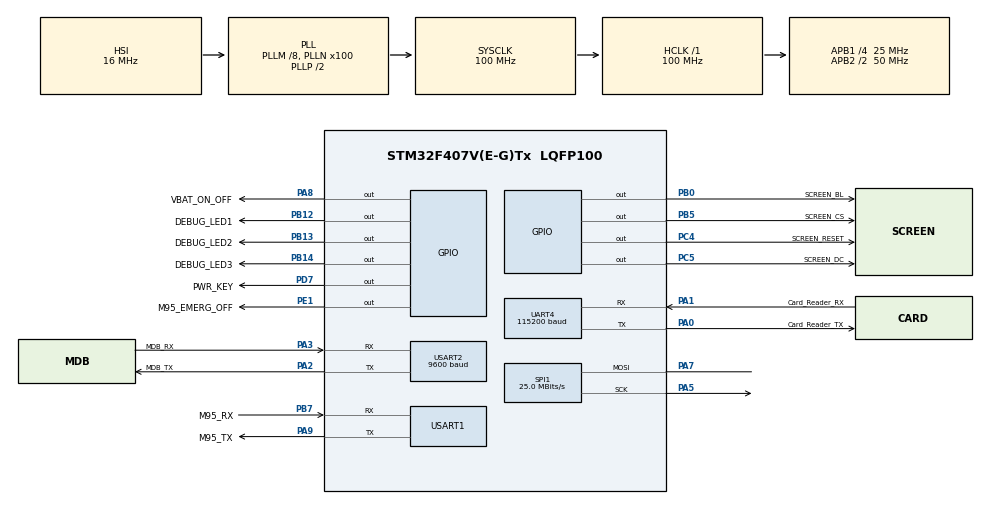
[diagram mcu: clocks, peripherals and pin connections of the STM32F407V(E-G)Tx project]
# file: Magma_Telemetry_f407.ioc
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Mcu.Family=STM32F4
Mcu.Name=STM32F407V(E-G)Tx
Mcu.Package=LQFP100
NVIC.PriorityGroup=NVIC_PRIORITYGROUP_4
NVIC.UART4_IRQn=true\:0\:0\:false\:false\:true\:true\:true
NVIC.USART1_IRQn=true\:0\:0\:false\:false\:true\:true\:true
NVIC.USART2_IRQn=true\:0\:0\:false\:false\:true\:true\:true
PA0-WKUP.GPIO_Label=Card_Reader_TX
PA0-WKUP.Mode=Asynchronous
PA0-WKUP.Signal=UART4_TX
PA1.GPIO_Label=Card_Reader_RX
PA1.Mode=Asynchronous
PA1.Signal=UART4_RX
PA13.Mode=Serial_Wire
PA13.Signal=SYS_JTMS-SWDIO
PA14.Mode=Serial_Wire
PA14.Signal=SYS_JTCK-SWCLK
PA2.GPIO_Label=MDB_TX
PA2.Mode=Asynchronous
PA2.Signal=USART2_TX
PA3.GPIO_Label=MDB_RX
PA3.Mode=Asynchronous
PA3.Signal=USART2_RX
PA5.Mode=Simplex_Bidirectional_Master
PA5.Signal=SPI1_SCK
PA7.Mode=Simplex_Bidirectional_Master
PA7.Signal=SPI1_MOSI
PA8.GPIO_Label=VBAT_ON_OFF
PA8.Signal=GPIO_Output
PA9.GPIO_Label=M95_TX
PA9.Mode=Asynchronous
PA9.Signal=USART1_TX
PB0.GPIO_Label=SCREEN_BL
PB0.Signal=GPIO_Output
PB12.GPIO_Label=DEBUG_LED1
PB12.Signal=GPIO_Output
PB13.GPIO_Label=DEBUG_LED2
PB13.Signal=GPIO_Output
PB14.GPIO_Label=DEBUG_LED3
PB14.Signal=GPIO_Output
PB5.GPIO_Label=SCREEN_CS
PB5.Signal=GPIO_Output
PB7.GPIO_Label=M95_RX
PB7.Mode=Asynchronous
PB7.Signal=USART1_RX
PC14-OSC32_IN.Mode=LSE-External-Oscillator
PC14-OSC32_IN.Signal=RCC_OSC32_IN
PC15-OSC32_OUT.Mode=LSE-External-Oscillator
PC15-OSC32_OUT.Signal=RCC_OSC32_OUT
PC4.GPIO_Label=SCREEN_RESET
PC4.Signal=GPIO_Output
PC5.GPIO_Label=SCREEN_DC
PC5.Signal=GPIO_Output
PD7.GPIO_Label=PWR_KEY
PD7.Signal=GPIO_Output
PE1.GPIO_Label=M95_EMERG_OFF
PE1.Signal=GPIO_Output
PH0-OSC_IN.Mode=HSE-External-Oscillator
PH0-OSC_IN.Signal=RCC_OSC_IN
PH1-OSC_OUT.Mode=HSE-External-Oscillator
PH1-OSC_OUT.Signal=RCC_OSC_OUT
ProjectManager.HeapSize=0x200
ProjectManager.StackSize=0x400
ProjectManager.TargetToolchain=STM32CubeIDE
RCC.48MHZClocksFreq_Value=50000000
RCC.AHBFreq_Value=100000000
RCC.APB1CLKDivider=RCC_HCLK_DIV4
RCC.APB1Freq_Value=25000000
RCC.APB1TimFreq_Value=50000000
RCC.APB2CLKDivider=RCC_HCLK_DIV2
RCC.APB2Freq_Value=50000000
RCC.APB2TimFreq_Value=100000000
RCC.CortexFreq_Value=100000000
RCC.HCLKFreq_Value=100000000
RCC.HSE_VALUE=25000000
RCC.HSI_VALUE=16000000
RCC.PLLM=8
RCC.PLLN=100
RCC.SYSCLKFreq_VALUE=100000000
RCC.SYSCLKSource=RCC_SYSCLKSOURCE_PLLCLK
RCC.VCOOutputFreq_Value=200000000
SPI1.CalculateBaudRate=25.0 MBits/s
SPI1.Direction=SPI_DIRECTION_1LINE
SPI1.Mode=SPI_MODE_MASTER
SPI1.VirtualType=VM_MASTER
UART4.BaudRate=115200
UART4.VirtualMode=Asynchronous
USART1.VirtualMode=VM_ASYNC
USART2.BaudRate=9600
USART2.VirtualMode=VM_ASYNC
board=custom

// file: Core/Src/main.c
/* USER CODE BEGIN Header */
/**
  ******************************************************************************
  * @file           : main.c
  * @brief          : Main program body
  ******************************************************************************
  * @attention
  *
  * <h2><center>&copy; Copyright (c) 2021 STMicroelectronics.
  * All rights reserved.</center></h2>
  *
  * This software component is licensed by ST under BSD 3-Clause license,
  * the "License"; You may not use this file except in compliance with the
  * License. You may obtain a copy of the License at:
  *                        opensource.org/licenses/BSD-3-Clause
  *
  ******************************************************************************
  */
/* USER CODE END Header */
#include "main.h"

/* USER CODE BEGIN Includes */
#include "Magma_Endpoint.h"
#include "Magma_GL.h"
#include "Magma_M95.h"
#include "Magma_Protocol_Stack.h"
#include "Magma_Typecast.h"
#include "ST7735.h"
#include "Fonts.h"
#include "Images.h"
#include "Magma_Screen.h"
#include "Proxy_Mifare.h"
/* USER CODE END Includes */

SPI_HandleTypeDef hspi1;

UART_HandleTypeDef huart4;
UART_HandleTypeDef huart1;
UART_HandleTypeDef huart2;

/* USER CODE BEGIN PV */
uint8_t rfid_begin_session_test_flag;
uint8_t x, y;
/* USER CODE END PV */

void SystemClock_Config(void);
static void MX_GPIO_Init(void);
static void MX_SPI1_Init(void);
static void MX_USART1_UART_Init(void);
static void MX_USART2_UART_Init(void);
static void MX_UART4_Init(void);

int main(void)
{

  /* MCU Configuration--------------------------------------------------------*/

  /* Reset of all peripherals, Initializes the Flash interface and the Systick. */
  HAL_Init();

  /* Configure the system clock */
  SystemClock_Config();

  /* Initialize all configured peripherals */
  MX_GPIO_Init();
  MX_SPI1_Init();
  MX_USART1_UART_Init();
  MX_USART2_UART_Init();
  MX_UART4_Init();
  /* USER CODE BEGIN 2 */
  HAL_UART_Receive_IT(&M95_UART, &m95_com.received_byte_u8, 1);
  page = Intro_Page;
  Screen_Opening();
  Screen_Idle_Page(1, 0);
  //M95_Init();
  HAL_UART_Receive_IT(&MDB_UART, &mdb_com.rx.received_byte_u8, 1);
  HAL_UART_Receive_IT(&NFC_UART, &reader_com.received_byte_u8, 1);
  /* USER CODE END 2 */

  /* Infinite loop */
  while (1)
  {

    /* USER CODE BEGIN 3 */
	  if(sys_timer._100_hz == TRUE)
	  {
		  //POST PROCCESS BEGIN
		  if(end_point.begin_post == TRUE || reader_data.nfc_session_started == TRUE)
		  {
			  Post_Handler((char *)end_point.json_data);		//Endpointten gelen cevaba göre bufferlar doldurulur.
		  }

		  if(end_point.discharge_failure_posts == TRUE)
		  {
			  //Discharge_Stored_Endpoint_Buf();
		  }

		  //Kacirilan Post 4u gecerse reset.
		  /*if((m95_errors.post_timeout_ctr_u32 + m95_errors.get_timeout_ctr_u32) > 4)
		  {
			  m95_errors.get_timeout_ctr_u32 = 0;
			  m95_errors.post_timeout_ctr_u32 = 0;
			  m95_state = M95_COM_CONTROL;
			  ST7735_FillScreen(ST7735_BLACK);
			  page = Intro_Page;
			  M95_Init();
		  }*/

		  /*switch(m95_state)
		  {
		  	  case M95_SIGNAL_QUALITY_CHECK:
		  	  {
		  		  if(page != Idle_Page)
				  {
					  Screen_Idle_Page(1, m95_com.internet_con_ok);
					  screen_data.internet_con_changed = 0;
				  }

		  		  static uint8_t function_called = 0;
		  		  if (function_called == 0)
		  		  {
		  			  memset(m95_com.rx_buf, 0, 1024);
		  			  M95_Get_Signal_Quality(100);
		  			  function_called = 1;
		  			  m95_data._2_sec_timeout = START;
		  			  m95_data._2_sec_ctr_u16 = 0;
		  		  }

		  		  if(m95_com.pack_received == TRUE)
		  		  {
		  			  uint8_t number_start_idx, end_idx;

		  			  function_called = 0;
		  			  number_start_idx = Find_String_Index("+CSQ: ", (char *)m95_com.rx_buf);
		  			  end_idx = Find_String_Index(",", (char *)m95_com.rx_buf);

					  if(number_start_idx != 0)
					  {
						  char signal_quality[2];

						  for(uint8_t i = 0; i < (end_idx - number_start_idx); i++)
						  {
							  signal_quality[i] = m95_com.rx_buf[number_start_idx + i];
						  }

						  end_point_data.signal_quality = atoi(signal_quality);
					  }
		  		  }

		  		  if(m95_data._2_sec_timeout == TIME_UP)
		  		  {

		  		  }
					  //End Point com failure buffer
		  		  break;
		  	}

		  	case M95_SET_URL_CONFIG:
		  	{
		  		static uint8_t function_called = 0;
		  		m95_data._270_ms_ctr_u16 = 0;
		  		m95_data._270_ms_timeout = START;
		  		if(function_called == 0)
		  		{
		  			m95_com.connect_received = FALSE;
		  			M95_Set_URL_Config(100, strlen((char *)end_point.url), 30);
		  			function_called = 1;
		  		}

				if(m95_com.connect_received == TRUE)
				{
					m95_state = M95_SET_URL;
					m95_com.connect_received = FALSE;
					m95_com.end_point_con_ok = TRUE;
					m95_com.cme_error_rxed = FALSE;
					function_called = 0;
				}

				else if(m95_com.error_received == TRUE)
				{
					Find_String_Index("+CME ERROR:", (char *)m95_com.rx_buf);
					m95_com.cme_error_rxed = TRUE;
					m95_com.end_point_con_ok = FALSE;
					m95_state = M95_SIGNAL_QUALITY_CHECK;
				}

		  		else if(m95_data._270_ms_timeout == TIME_UP)
		  		{
		  			//TODO SET URL CONFIG TIMEOUT
		  			m95_state = M95_SIGNAL_QUALITY_CHECK;
		  		}
		  		break;
		  	}

		  	case M95_SET_URL:
		  	{
		  		static uint8_t function_called = 0;

		  		if(function_called == 0)
		  		{
		  			m95_com.ok_received = FALSE;
		  			m95_data._270_ms_ctr_u16 = 0;
		  			m95_data._270_ms_timeout = START;
		  			M95_Set_URL(M95_UART_TIMEOUT, end_point.url);
		  			function_called = 1;
		  		}

				if(m95_com.ok_received == TRUE)
				{
					function_called = 0;
					m95_com.ok_received = FALSE;
					end_point.url_changed = FALSE;

					if(m95_url == CASHLESS_POST_URL)
					{
						m95_state = M95_POST_CONFIG;
						Convert_Data_2_JSON(mdb_data.product_price_u16, mdb_data.product_num_16, (char *)end_point.json_data);
						end_point.begin_post = 1;
					}
				}

				else if(m95_data._270_ms_timeout == TIME_UP)
				{
					//TODO SET URL TIMEOUT
					m95_state = M95_SIGNAL_QUALITY_CHECK;
				}
		  		break;
		  	}
		  	default: break;
		  }*/

		  //RFID kart okutuldugundaki case
			if(reader_data.nfc_card_read_flag == 1 /*&& end_point.begin_post != TRUE*/ && reader_data.nfc_session_started != TRUE)
			{
			  /*uint8_t example_uid[6] = {1, 2, 3, 1, 2, 3};

			  if(m95_url != NFC_POST_URL)
			  {
				  strcpy((char*)end_point.url, MAGMA_NFC_URL);
				  m95_url = NFC_POST_URL;
				  m95_state = M95_SET_URL_CONFIG;
				  end_point.url_changed = TRUE;
			  }

			  if(end_point.url_changed == FALSE)
			  {
				  NFC_Card_Session(example_uid, (char*)end_point.json_data);
				  reader_data.nfc_session_started = TRUE;
				  reader_data.nfc_card_read_flag = FALSE;
				  m95_state = M95_POST_CONFIG;
			  }*/
				if(mdb_com.begin_session_started != TRUE)
				{
					Begin_Session_Handler(0, 200);
					mdb_data._30sec_cancel_ctr_u16 = START;
					mdb_com.begin_session_started = TRUE;
				}
			}

			 sys_timer._100_hz = FALSE;
	  }

	  //MDB Command Handler
	  if(sys_timer._10_hz == TRUE)
	  {
		  static uint16_t mdb_response_ctr_u16 = 0;
		  mdb_response_ctr_u16 ++;

		  if(mdb_com.rx_buffer_ready == TRUE)
		  {
			  switch(mdb_com.rx.command_u8)
			  {
				  case Vend_Poll:
				  {
					  //Poll komutunun cevabında ilk byte olarak otomat durumu alınır.
					  switch((uint8_t)mdb_com.rx.data_buf[0])
					  {
						  case Vend_Approved:
						  {
							  Vend_Approved_Handler();
							  mdb_com.begin_session_started = FALSE;
							  break;
						  }
					  }
					  t_vend_state = mdb_com.rx.data_buf[0];

					  switch((uint8_t)t_vend_state)
					  {
						  case VendState_VendRequested:
						  {
							  Send_MDB(Vend_Request, NULL, 0);
							  break;
						  }

						  default: break;
					  }
					  break;
				  }

				  case Cash_Sale:
				  {
					  Vend_Cash_Sale_Handler();
					  break;
				  }

				  case Vend_Request:
				  {
					  Vend_Request_Handler();
					  break;
				  }
			  }

			  mdb_response_ctr_u16 = 0;
			  mdb_data.error_message_u8 &= ~MDB_Com_Error;

			  mdb_com.rx_buffer_ready = FALSE;
		  }

		  if(mdb_com.begin_session_started == TRUE && mdb_data._30sec_cancel_timeout == TIME_UP)
		  {
			  //TODO: VEND CANCEL
			  Send_MDB(Vend_Denied, NULL, 0);
		  }

		  else if(mdb_response_ctr_u16 >= MDB_MAX_RESPONSE_TIME * 2)
		  {
			  mdb_data.error_message_u8 |= MDB_Com_Error;
			  mdb_response_ctr_u16 = MDB_MAX_RESPONSE_TIME * 2;
		  }

		  sys_timer._10_hz = FALSE;
	  }

	  if(sys_timer._5_hz == TRUE)
	  {
		  Send_MDB(Vend_Poll, NULL, 0);

		  sys_timer._5_hz = FALSE;
	  }

	  //Bu kisim m95 fonksiyonlarinin zamanlamasi icin flag ayarlamalarini icerir.
	  if(sys_timer._1_hz == TRUE)
	  {
		  m95_data._12_sec_ctr_u16++;
		  m95_data._16_sec_ctr_u16++;
		  m95_data._10_sec_ctr_u16++;
		  m95_data._20_sec_ctr_u16++;
		  m95_data._3_sec_ctr_u16++;
		  m95_data._2_sec_ctr_u16++;
		  mdb_data._30sec_ctr_u16++;

		  mdb_data._30sec_cancel_ctr_u16++;

		  if(mdb_data._30sec_cancel_ctr_u16 % 30 == 0)
		  {
			  mdb_data._30sec_cancel_timeout = TIME_UP;
		  }
		  if(m95_state == M95_SIGNAL_QUALITY_CHECK && m95_com.internet_con_ok == TRUE)
		  {
			  //Send_MDB(Cash_Sale, mdb_com.tx.data, Cash_Sale_Data_Size);
		  }

		  if(m95_data._2_sec_ctr_u16 %  2 == 0)
		  {
			  m95_data._2_sec_timeout = TIME_UP;
		  }

		  if(m95_data._3_sec_ctr_u16 %  3 == 0)
		  {
			  m95_data._3_sec_timeout = TIME_UP;
		  }

		  if(m95_data._10_sec_ctr_u16 %  10 == 0)
		  {
			  m95_data._10_sec_timeout = TIME_UP;
		  }

		  if(m95_data._12_sec_ctr_u16 %  12 == 0)
		  {
			  m95_data._12_sec_timeout = TIME_UP;
		  }

		  if(m95_data._16_sec_ctr_u16 % 16 == 0)
		  {
			  m95_data._16_sec_timeout = TIME_UP;
		  }

		  if(m95_data._20_sec_ctr_u16 % 20 == 0)
		  {
			  m95_data._20_sec_timeout = TIME_UP;
		  }

		  if(mdb_data._30sec_ctr_u16 % 30 == 0)
		  {
			  mdb_data._30sec_timeout = TIME_UP;
		  }
		  sys_timer._1_hz = FALSE;
	  }

	  if(sys_timer._0_1_hz == TRUE)
	  {
		  if(m95_com.internet_con_ok == TRUE && end_point.store_failure_idx > 0 && m95_state == M95_SIGNAL_QUALITY_CHECK)
		  {
			  end_point.discharge_failure_posts = 1;
		  }

		  //10 Saniyede bir google'a get istegi atilarak internet baglantisi kontrolu
		  if(m95_state == M95_SIGNAL_QUALITY_CHECK)
		  {
			  //m95_state = M95_GOOGLE_PING;
		  }
		  sys_timer._0_1_hz = FALSE;
	  }

	  if(sys_timer._1000_hz == TRUE)
	  {
		  m95_data._100_ms_ctr_u16++;
		  m95_data._270_ms_ctr_u16++;

		  if(m95_data._100_ms_ctr_u16 % 100 == 0)
		  {
			  m95_data._100_ms_timeout = TIME_UP;
		  }

		  if(m95_data._270_ms_ctr_u16 % 270 == 0)
		  {
			  m95_data._270_ms_timeout = TIME_UP;
		  }
		  sys_timer._1000_hz = FALSE;
	  }
  }
  /* USER CODE END 3 */
}

void SystemClock_Config(void)
{
  RCC_OscInitTypeDef RCC_OscInitStruct = {0};
  RCC_ClkInitTypeDef RCC_ClkInitStruct = {0};

  /** Configure the main internal regulator output voltage
  */
  __HAL_RCC_PWR_CLK_ENABLE();
  __HAL_PWR_VOLTAGESCALING_CONFIG(PWR_REGULATOR_VOLTAGE_SCALE1);
  /** Initializes the RCC Oscillators according to the specified parameters
  * in the RCC_OscInitTypeDef structure.
  */
  RCC_OscInitStruct.OscillatorType = RCC_OSCILLATORTYPE_HSI;
  RCC_OscInitStruct.HSIState = RCC_HSI_ON;
  RCC_OscInitStruct.HSICalibrationValue = RCC_HSICALIBRATION_DEFAULT;
  RCC_OscInitStruct.PLL.PLLState = RCC_PLL_ON;
  RCC_OscInitStruct.PLL.PLLSource = RCC_PLLSOURCE_HSI;
  RCC_OscInitStruct.PLL.PLLM = 8;
  RCC_OscInitStruct.PLL.PLLN = 100;
  RCC_OscInitStruct.PLL.PLLP = RCC_PLLP_DIV2;
  RCC_OscInitStruct.PLL.PLLQ = 4;
  if (HAL_RCC_OscConfig(&RCC_OscInitStruct) != HAL_OK)
  {
    Error_Handler();
  }
  /** Initializes the CPU, AHB and APB buses clocks
  */
  RCC_ClkInitStruct.ClockType = RCC_CLOCKTYPE_HCLK|RCC_CLOCKTYPE_SYSCLK
                              |RCC_CLOCKTYPE_PCLK1|RCC_CLOCKTYPE_PCLK2;
  RCC_ClkInitStruct.SYSCLKSource = RCC_SYSCLKSOURCE_PLLCLK;
  RCC_ClkInitStruct.AHBCLKDivider = RCC_SYSCLK_DIV1;
  RCC_ClkInitStruct.APB1CLKDivider = RCC_HCLK_DIV4;
  RCC_ClkInitStruct.APB2CLKDivider = RCC_HCLK_DIV2;

  if (HAL_RCC_ClockConfig(&RCC_ClkInitStruct, FLASH_LATENCY_3) != HAL_OK)
  {
    Error_Handler();
  }
}

static void MX_SPI1_Init(void)
{

  /* SPI1 parameter configuration*/
  hspi1.Instance = SPI1;
  hspi1.Init.Mode = SPI_MODE_MASTER;
  hspi1.Init.Direction = SPI_DIRECTION_1LINE;
  hspi1.Init.DataSize = SPI_DATASIZE_8BIT;
  hspi1.Init.CLKPolarity = SPI_POLARITY_LOW;
  hspi1.Init.CLKPhase = SPI_PHASE_1EDGE;
  hspi1.Init.NSS = SPI_NSS_SOFT;
  hspi1.Init.BaudRatePrescaler = SPI_BAUDRATEPRESCALER_2;
  hspi1.Init.FirstBit = SPI_FIRSTBIT_MSB;
  hspi1.Init.TIMode = SPI_TIMODE_DISABLE;
  hspi1.Init.CRCCalculation = SPI_CRCCALCULATION_DISABLE;
  hspi1.Init.CRCPolynomial = 10;
  if (HAL_SPI_Init(&hspi1) != HAL_OK)
  {
    Error_Handler();
  }

}

static void MX_UART4_Init(void)
{

  huart4.Instance = UART4;
  huart4.Init.BaudRate = 115200;
  huart4.Init.WordLength = UART_WORDLENGTH_8B;
  huart4.Init.StopBits = UART_STOPBITS_1;
  huart4.Init.Parity = UART_PARITY_NONE;
  huart4.Init.Mode = UART_MODE_TX_RX;
  huart4.Init.HwFlowCtl = UART_HWCONTROL_NONE;
  huart4.Init.OverSampling = UART_OVERSAMPLING_16;
  if (HAL_UART_Init(&huart4) != HAL_OK)
  {
    Error_Handler();
  }

}

static void MX_USART1_UART_Init(void)
{

  huart1.Instance = USART1;
  huart1.Init.BaudRate = 115200;
  huart1.Init.WordLength = UART_WORDLENGTH_8B;
  huart1.Init.StopBits = UART_STOPBITS_1;
  huart1.Init.Parity = UART_PARITY_NONE;
  huart1.Init.Mode = UART_MODE_TX_RX;
  huart1.Init.HwFlowCtl = UART_HWCONTROL_NONE;
  huart1.Init.OverSampling = UART_OVERSAMPLING_16;
  if (HAL_UART_Init(&huart1) != HAL_OK)
  {
    Error_Handler();
  }

}

static void MX_USART2_UART_Init(void)
{

  huart2.Instance = USART2;
  huart2.Init.BaudRate = 9600;
  huart2.Init.WordLength = UART_WORDLENGTH_8B;
  huart2.Init.StopBits = UART_STOPBITS_1;
  huart2.Init.Parity = UART_PARITY_NONE;
  huart2.Init.Mode = UART_MODE_TX_RX;
  huart2.Init.HwFlowCtl = UART_HWCONTROL_NONE;
  huart2.Init.OverSampling = UART_OVERSAMPLING_16;
  if (HAL_UART_Init(&huart2) != HAL_OK)
  {
    Error_Handler();
  }

}

static void MX_GPIO_Init(void)
{
  GPIO_InitTypeDef GPIO_InitStruct = {0};

  /* GPIO Ports Clock Enable */
  __HAL_RCC_GPIOC_CLK_ENABLE();
  __HAL_RCC_GPIOH_CLK_ENABLE();
  __HAL_RCC_GPIOA_CLK_ENABLE();
  __HAL_RCC_GPIOB_CLK_ENABLE();
  __HAL_RCC_GPIOD_CLK_ENABLE();
  __HAL_RCC_GPIOE_CLK_ENABLE();

  /*Configure GPIO pin Output Level */
  HAL_GPIO_WritePin(GPIOC, SCREEN_RESET_Pin|SCREEN_DC_Pin, GPIO_PIN_RESET);

  /*Configure GPIO pin Output Level */
  HAL_GPIO_WritePin(GPIOB, SCREEN_BL_Pin|DEBUG_LED1_Pin|DEBUG_LED2_Pin|DEBUG_LED3_Pin
                          |SCREEN_CS_Pin, GPIO_PIN_RESET);

  /*Configure GPIO pin Output Level */
  HAL_GPIO_WritePin(VBAT_ON_OFF_GPIO_Port, VBAT_ON_OFF_Pin, GPIO_PIN_RESET);

  /*Configure GPIO pin Output Level */
  HAL_GPIO_WritePin(PWR_KEY_GPIO_Port, PWR_KEY_Pin, GPIO_PIN_RESET);

  /*Configure GPIO pin Output Level */
  HAL_GPIO_WritePin(M95_EMERG_OFF_GPIO_Port, M95_EMERG_OFF_Pin, GPIO_PIN_RESET);

  /*Configure GPIO pins : SCREEN_RESET_Pin SCREEN_DC_Pin */
  GPIO_InitStruct.Pin = SCREEN_RESET_Pin|SCREEN_DC_Pin;
  GPIO_InitStruct.Mode = GPIO_MODE_OUTPUT_PP;
  GPIO_InitStruct.Pull = GPIO_NOPULL;
  GPIO_InitStruct.Speed = GPIO_SPEED_FREQ_LOW;
  HAL_GPIO_Init(GPIOC, &GPIO_InitStruct);

  /*Configure GPIO pins : SCREEN_BL_Pin DEBUG_LED1_Pin DEBUG_LED2_Pin DEBUG_LED3_Pin
                           SCREEN_CS_Pin */
  GPIO_InitStruct.Pin = SCREEN_BL_Pin|DEBUG_LED1_Pin|DEBUG_LED2_Pin|DEBUG_LED3_Pin
                          |SCREEN_CS_Pin;
  GPIO_InitStruct.Mode = GPIO_MODE_OUTPUT_PP;
  GPIO_InitStruct.Pull = GPIO_NOPULL;
  GPIO_InitStruct.Speed = GPIO_SPEED_FREQ_LOW;
  HAL_GPIO_Init(GPIOB, &GPIO_InitStruct);

  /*Configure GPIO pin : VBAT_ON_OFF_Pin */
  GPIO_InitStruct.Pin = VBAT_ON_OFF_Pin;
  GPIO_InitStruct.Mode = GPIO_MODE_OUTPUT_PP;
  GPIO_InitStruct.Pull = GPIO_NOPULL;
  GPIO_InitStruct.Speed = GPIO_SPEED_FREQ_LOW;
  HAL_GPIO_Init(VBAT_ON_OFF_GPIO_Port, &GPIO_InitStruct);

  /*Configure GPIO pin : PWR_KEY_Pin */
  GPIO_InitStruct.Pin = PWR_KEY_Pin;
  GPIO_InitStruct.Mode = GPIO_MODE_OUTPUT_PP;
  GPIO_InitStruct.Pull = GPIO_NOPULL;
  GPIO_InitStruct.Speed = GPIO_SPEED_FREQ_LOW;
  HAL_GPIO_Init(PWR_KEY_GPIO_Port, &GPIO_InitStruct);

  /*Configure GPIO pin : M95_EMERG_OFF_Pin */
  GPIO_InitStruct.Pin = M95_EMERG_OFF_Pin;
  GPIO_InitStruct.Mode = GPIO_MODE_OUTPUT_PP;
  GPIO_InitStruct.Pull = GPIO_NOPULL;
  GPIO_InitStruct.Speed = GPIO_SPEED_FREQ_LOW;
  HAL_GPIO_Init(M95_EMERG_OFF_GPIO_Port, &GPIO_InitStruct);

}

/* USER CODE BEGIN 4 */
void HAL_UART_RxCpltCallback(UART_HandleTypeDef *huart)
{
	if(huart == &M95_UART)
	{
		M95_RX_Callback_Handler();
		HAL_UART_Receive_IT(&M95_UART, &m95_com.received_byte_u8, 1);
	}

	else if(huart == &MDB_UART)
	{
		MDB_RX_Handler();
		HAL_UART_Receive_IT(&MDB_UART, &mdb_com.rx.received_byte_u8, 1);
	}

	else if(huart == &NFC_UART)
	{
		Reader_RX_Handler();
		HAL_UART_Receive_IT(&NFC_UART, &reader_com.received_byte_u8, 1);
	}
}
/* USER CODE END 4 */

void Error_Handler(void)
{
  __disable_irq();
  while (1)
  {
  }
}

/************************ (C) COPYRIGHT STMicroelectronics *****END OF FILE****/
